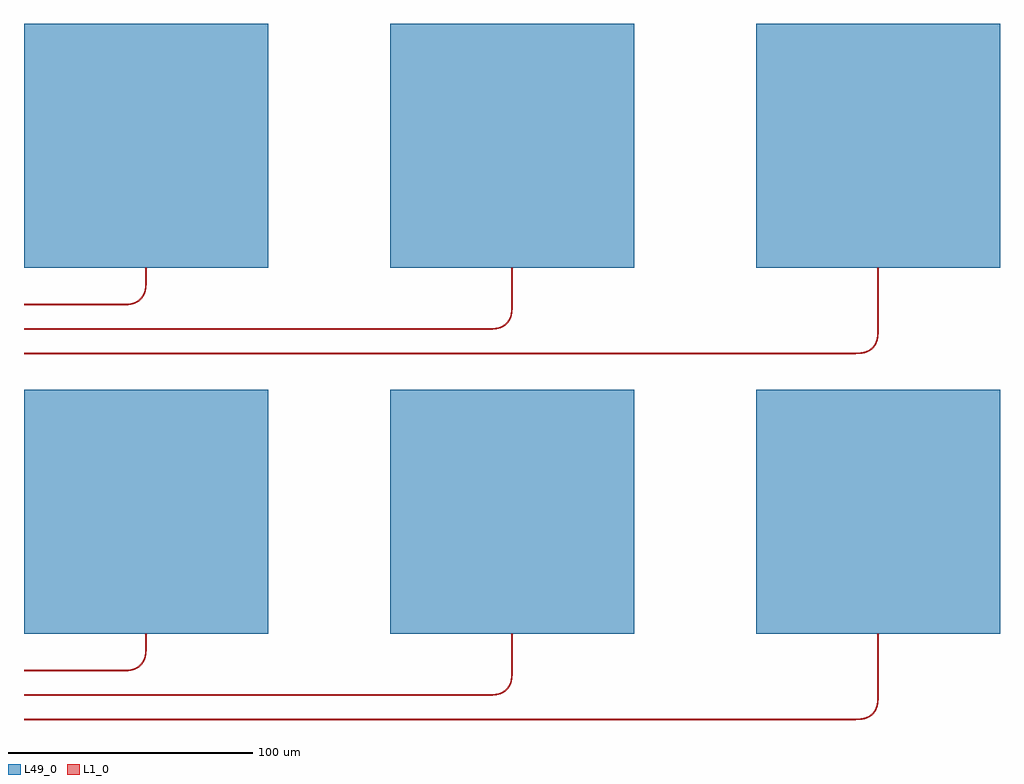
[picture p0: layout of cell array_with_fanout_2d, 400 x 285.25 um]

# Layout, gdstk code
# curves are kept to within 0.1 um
from math import pi, radians
import gdstk
lib = gdstk.Library(unit=1e-6, precision=1e-09)
def R(c, l, rs):  # rectangles x0, y0, x1, y1
    for r in rs: c.add(gdstk.rectangle(r[:2], r[2:], *l))
def P(c, l, *ps):  # polygons
    for p in ps: c.add(gdstk.Polygon(p, *l))
L1_0 = (1, 0)
L49_0 = (49, 0)

pad = lib.new_cell('pad')
R(pad, L49_0, [(-50,-50,50,50)])

straight_length5p0 = lib.new_cell('straight_length5p0')
R(straight_length5p0, L1_0, [(0,-0.25,5,0.25)])

bend_euler = lib.new_cell('bend_euler')
P(bend_euler, L1_0, [(0,-0.25),(2.795,-0.158),(4.746,0.203),(5.688,0.543),(6.455,0.934),(7.285,1.5),(7.928,2.072),(8.5,2.715),(9.066,3.545),(9.457,4.312),(9.797,5.254),(10.158,7.205),(10.25,10),(9.75,10),(9.647,7.119),(9.48,6.048),(9.194,5.01),(8.495,3.569),(7.575,2.425),(6.431,1.505),(4.99,0.806),(3.952,0.52),(2.881,0.353),(0,0.25)])

straight_length40p0 = lib.new_cell('straight_length40p0')
R(straight_length40p0, L1_0, [(0,-0.25,40,0.25)])

straight_length15p0 = lib.new_cell('straight_length15p0')
R(straight_length15p0, L1_0, [(0,-0.25,15,0.25)])

straight_length190p0 = lib.new_cell('straight_length190p0')
R(straight_length190p0, L1_0, [(0,-0.25,190,0.25)])

straight_length25p0 = lib.new_cell('straight_length25p0')
R(straight_length25p0, L1_0, [(0,-0.25,25,0.25)])

straight_length340p0 = lib.new_cell('straight_length340p0')
R(straight_length340p0, L1_0, [(0,-0.25,340,0.25)])

array_with_fanout = lib.new_cell('array_with_fanout')
array_with_fanout.add(gdstk.Reference(pad, (0,0)))
array_with_fanout.add(gdstk.Reference(straight_length5p0, (0,-55), rotation=pi/2))
array_with_fanout.add(gdstk.Reference(bend_euler, (-10,-65)))
array_with_fanout.add(gdstk.Reference(straight_length40p0, (-50,-65)))
array_with_fanout.add(gdstk.Reference(pad, (150,0)))
array_with_fanout.add(gdstk.Reference(straight_length15p0, (150,-65), rotation=pi/2))
array_with_fanout.add(gdstk.Reference(bend_euler, (140,-75)))
array_with_fanout.add(gdstk.Reference(straight_length190p0, (-50,-75)))
array_with_fanout.add(gdstk.Reference(pad, (300,0)))
array_with_fanout.add(gdstk.Reference(straight_length25p0, (300,-75), rotation=pi/2))
array_with_fanout.add(gdstk.Reference(bend_euler, (290,-85)))
array_with_fanout.add(gdstk.Reference(straight_length340p0, (-50,-85)))

array_with_fanout_2d = lib.new_cell('array_with_fanout_2d')
r = gdstk.Reference(array_with_fanout, (0,0)); r.repetition = gdstk.Repetition(1, 2, v1=(1,0), v2=(0,150)); array_with_fanout_2d.add(r)

lib.write_gds('array_with_fanout_2d.gds')
